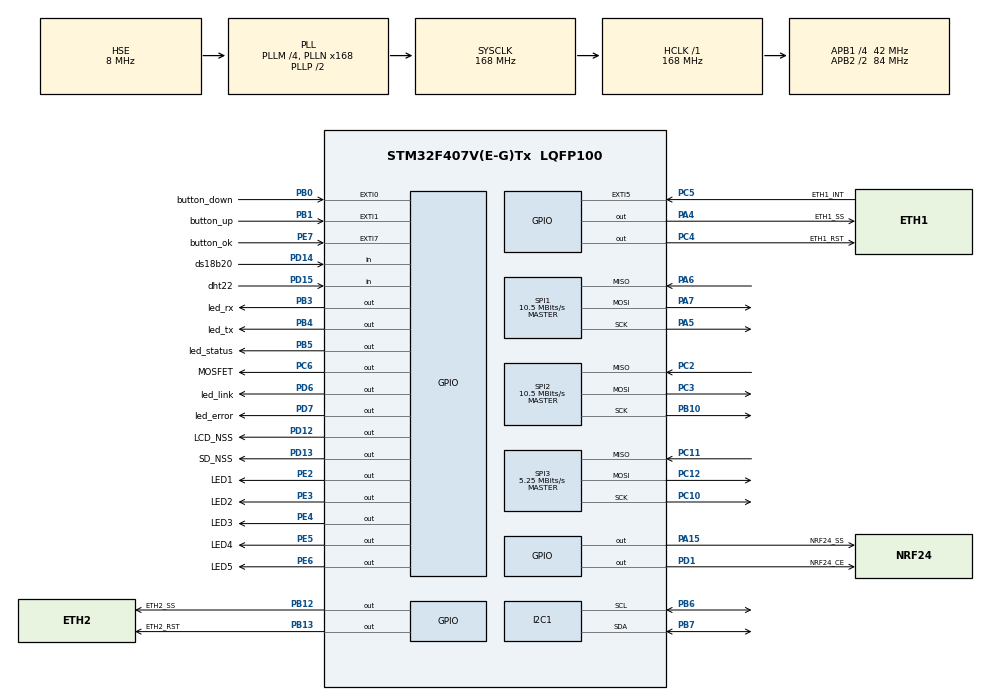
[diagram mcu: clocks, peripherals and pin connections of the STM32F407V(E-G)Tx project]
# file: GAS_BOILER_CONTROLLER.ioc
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I2C1.I2C_Mode=I2C_Fast
Mcu.Family=STM32F4
Mcu.Name=STM32F407V(E-G)Tx
Mcu.Package=LQFP100
NVIC.EXTI0_IRQn=true\:0\:0\:false\:false\:true\:true\:true\:true
NVIC.EXTI1_IRQn=true\:0\:0\:false\:false\:true\:true\:true\:true
NVIC.EXTI9_5_IRQn=true\:0\:0\:false\:false\:true\:true\:true\:true
NVIC.PriorityGroup=NVIC_PRIORITYGROUP_4
NVIC.TIM2_IRQn=true\:0\:0\:false\:false\:true\:true\:true\:true
NVIC.TIM4_IRQn=true\:0\:0\:false\:false\:true\:true\:true\:true
NVIC.TIM5_IRQn=true\:0\:0\:false\:false\:true\:true\:true\:true
NVIC.TIM6_DAC_IRQn=true\:0\:0\:false\:false\:true\:true\:true\:true
NVIC.TIM8_BRK_TIM12_IRQn=true\:0\:0\:false\:false\:true\:true\:true\:true
NVIC.TIM8_UP_TIM13_IRQn=true\:0\:0\:false\:false\:true\:true\:true\:true
PA13.Mode=Serial_Wire
PA13.Signal=SYS_JTMS-SWDIO
PA14.Mode=Serial_Wire
PA14.Signal=SYS_JTCK-SWCLK
PA15.GPIO_Label=NRF24_SS
PA15.Signal=GPIO_Output
PA4.GPIO_Label=ETH1_SS
PA4.PinState=GPIO_PIN_SET
PA4.Signal=GPIO_Output
PA5.GPIO_Speed=GPIO_SPEED_FREQ_HIGH
PA5.Mode=Full_Duplex_Master
PA5.Signal=SPI1_SCK
PA6.GPIO_Speed=GPIO_SPEED_FREQ_HIGH
PA6.Mode=Full_Duplex_Master
PA6.Signal=SPI1_MISO
PA7.GPIO_Speed=GPIO_SPEED_FREQ_HIGH
PA7.Mode=Full_Duplex_Master
PA7.Signal=SPI1_MOSI
PB0.GPIO_Label=button_down
PB0.GPIO_ModeDefaultEXTI=GPIO_MODE_IT_FALLING
PB0.GPIO_PuPd=GPIO_PULLUP
PB0.Signal=GPXTI0
PB1.GPIO_Label=button_up
PB1.GPIO_ModeDefaultEXTI=GPIO_MODE_IT_FALLING
PB1.GPIO_PuPd=GPIO_PULLUP
PB1.Signal=GPXTI1
PB10.GPIO_Speed=GPIO_SPEED_FREQ_HIGH
PB10.Mode=Full_Duplex_Master
PB10.Signal=SPI2_SCK
PB12.GPIO_Label=ETH2_SS
PB12.PinState=GPIO_PIN_SET
PB12.Signal=GPIO_Output
PB13.GPIO_Label=ETH2_RST
PB13.PinState=GPIO_PIN_SET
PB13.Signal=GPIO_Output
PB3.GPIO_Label=led_rx
PB3.Signal=GPIO_Output
PB4.GPIO_Label=led_tx
PB4.Signal=GPIO_Output
PB5.GPIO_Label=led_status
PB5.Signal=GPIO_Output
PB6.GPIO_Pu=GPIO_NOPULL
PB6.GPIO_Speed=GPIO_SPEED_FREQ_HIGH
PB6.Mode=I2C
PB6.Signal=I2C1_SCL
PB7.GPIO_Pu=GPIO_NOPULL
PB7.GPIO_Speed=GPIO_SPEED_FREQ_HIGH
PB7.Mode=I2C
PB7.Signal=I2C1_SDA
PC10.GPIO_Speed=GPIO_SPEED_FREQ_HIGH
PC10.Mode=Full_Duplex_Master
PC10.Signal=SPI3_SCK
PC11.GPIO_Speed=GPIO_SPEED_FREQ_HIGH
PC11.Mode=Full_Duplex_Master
PC11.Signal=SPI3_MISO
PC12.GPIO_Speed=GPIO_SPEED_FREQ_HIGH
PC12.Mode=Full_Duplex_Master
PC12.Signal=SPI3_MOSI
PC2.GPIO_Speed=GPIO_SPEED_FREQ_HIGH
PC2.Mode=Full_Duplex_Master
PC2.Signal=SPI2_MISO
PC3.GPIO_Speed=GPIO_SPEED_FREQ_HIGH
PC3.Mode=Full_Duplex_Master
PC3.Signal=SPI2_MOSI
PC4.GPIO_Label=ETH1_RST
PC4.PinState=GPIO_PIN_SET
PC4.Signal=GPIO_Output
PC5.GPIO_Label=ETH1_INT
PC5.Signal=GPXTI5
PC6.GPIO_Label=MOSFET
PC6.Signal=GPIO_Output
PD1.GPIO_Label=NRF24_CE
PD1.Signal=GPIO_Output
PD12.GPIO_Label=LCD_NSS
PD12.GPIO_Speed=GPIO_SPEED_FREQ_HIGH
PD12.PinState=GPIO_PIN_SET
PD12.Signal=GPIO_Output
PD13.GPIO_Label=SD_NSS
PD13.Signal=GPIO_Output
PD14.GPIO_Label=ds18b20
PD14.Signal=GPIO_Input
PD15.GPIO_Label=dht22
PD15.Signal=GPIO_Input
PD6.GPIO_Label=led_link
PD6.Signal=GPIO_Output
PD7.GPIO_Label=led_error
PD7.Signal=GPIO_Output
PE2.GPIO_Label=LED1
PE2.Signal=GPIO_Output
PE3.GPIO_Label=LED2
PE3.Signal=GPIO_Output
PE4.GPIO_Label=LED3
PE4.Signal=GPIO_Output
PE5.GPIO_Label=LED4
PE5.Signal=GPIO_Output
PE6.GPIO_Label=LED5
PE6.Signal=GPIO_Output
PE7.GPIO_Label=button_ok
PE7.GPIO_ModeDefaultEXTI=GPIO_MODE_IT_FALLING
PE7.GPIO_PuPd=GPIO_PULLUP
PE7.Signal=GPXTI7
PH0-OSC_IN.Mode=HSE-External-Oscillator
PH0-OSC_IN.Signal=RCC_OSC_IN
PH1-OSC_OUT.Mode=HSE-External-Oscillator
PH1-OSC_OUT.Signal=RCC_OSC_OUT
ProjectManager.HeapSize=0x200
ProjectManager.StackSize=0x400
ProjectManager.TargetToolchain=MDK-ARM V5.32
RCC.48MHZClocksFreq_Value=84000000
RCC.AHBFreq_Value=168000000
RCC.APB1CLKDivider=RCC_HCLK_DIV4
RCC.APB1Freq_Value=42000000
RCC.APB1TimFreq_Value=84000000
RCC.APB2CLKDivider=RCC_HCLK_DIV2
RCC.APB2Freq_Value=84000000
RCC.APB2TimFreq_Value=168000000
RCC.CortexFreq_Value=168000000
RCC.HCLKFreq_Value=168000000
RCC.HSE_VALUE=8000000
RCC.HSI_VALUE=16000000
RCC.LSE_VALUE=32768
RCC.PLLM=4
RCC.PLLN=168
RCC.PLLSourceVirtual=RCC_PLLSOURCE_HSE
RCC.SYSCLKFreq_VALUE=168000000
RCC.SYSCLKSource=RCC_SYSCLKSOURCE_PLLCLK
RCC.VCOOutputFreq_Value=336000000
SPI1.BaudRatePrescaler=SPI_BAUDRATEPRESCALER_8
SPI1.CalculateBaudRate=10.5 MBits/s
SPI1.Direction=SPI_DIRECTION_2LINES
SPI1.Mode=SPI_MODE_MASTER
SPI1.VirtualType=VM_MASTER
SPI2.BaudRatePrescaler=SPI_BAUDRATEPRESCALER_4
SPI2.CalculateBaudRate=10.5 MBits/s
SPI2.Direction=SPI_DIRECTION_2LINES
SPI2.Mode=SPI_MODE_MASTER
SPI2.VirtualType=VM_MASTER
SPI3.BaudRatePrescaler=SPI_BAUDRATEPRESCALER_8
SPI3.CalculateBaudRate=5.25 MBits/s
SPI3.Direction=SPI_DIRECTION_2LINES
SPI3.Mode=SPI_MODE_MASTER
SPI3.VirtualType=VM_MASTER
TIM12.Period=49999
TIM12.Prescaler=8399
TIM13.Period=49999
TIM13.Prescaler=8399
TIM2.Period=49999
TIM2.Prescaler=8399
TIM2.TIM_MasterOutputTrigger=TIM_TRGO_UPDATE
TIM3.Prescaler=83
TIM4.Period=49999
TIM4.Prescaler=8399
TIM5.Period=9999
TIM5.Prescaler=8399
TIM6.Period=999
TIM6.Prescaler=8399
VP_TIM12_VS_ClockSourceINT.Mode=Internal
VP_TIM13_VS_ClockSourceINT.Mode=Enable_Timer
VP_TIM2_VS_ClockSourceINT.Mode=Internal
VP_TIM3_VS_ClockSourceINT.Mode=Internal
VP_TIM4_VS_ClockSourceINT.Mode=Internal
VP_TIM5_VS_ClockSourceINT.Mode=Internal
VP_TIM6_VS_ClockSourceINT.Mode=Enable_Timer
board=custom

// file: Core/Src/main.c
/* USER CODE BEGIN Header */
/**
  ******************************************************************************
  * @file           : main.c
  * @brief          : Main program body
  ******************************************************************************
  * @attention
  *
  * Copyright (c) 2024 STMicroelectronics.
  * All rights reserved.
  *
  * This software is licensed under terms that can be found in the LICENSE file
  * in the root directory of this software component.
  * If no LICENSE file comes with this software, it is provided AS-IS.
  *
  ******************************************************************************
  */
/* USER CODE END Header */
#include "main.h"

 I2C_HandleTypeDef hi2c1;

SPI_HandleTypeDef hspi1;
SPI_HandleTypeDef hspi2;
SPI_HandleTypeDef hspi3;

TIM_HandleTypeDef htim2;
TIM_HandleTypeDef htim3;
TIM_HandleTypeDef htim4;
TIM_HandleTypeDef htim5;
TIM_HandleTypeDef htim6;
TIM_HandleTypeDef htim12;
TIM_HandleTypeDef htim13;

void SystemClock_Config(void);
static void MX_GPIO_Init(void);
static void MX_SPI1_Init(void);
static void MX_SPI2_Init(void);
static void MX_I2C1_Init(void);
static void MX_SPI3_Init(void);
static void MX_TIM3_Init(void);
static void MX_TIM2_Init(void);
static void MX_TIM4_Init(void);
static void MX_TIM5_Init(void);
static void MX_TIM6_Init(void);
static void MX_TIM12_Init(void);
static void MX_TIM13_Init(void);

/* USER CODE BEGIN 0 */
extern w5500_data w5500_1; // Настройки первой микросхемы w5500
extern w5500_data* w5500_1_ptr;
extern w5500_data w5500_2; // Настройки второй микросхемы w5500
extern w5500_data* w5500_2_ptr;
extern ram_data_struct ram_data;	//Пространство памяти ОЗУ (куда зеркализованы в т.ч. и данные из ПЗУ)
extern ram_data_struct *ram_ptr;	// Указатель на данные ОЗУ
extern ds3231_time sys_time;	// Структура системного времени
uint8_t is_time_to_update_params = 1; // Флаг того, что пора обновлять параметры модуля
extern uint8_t is_time_to_update_rom;	// Флаг того, что пора обновлять ПЗУ
uint8_t is_time_to_update_lcd; // Флаг того, что пора обновлять дисплей
uint8_t hours_delta; // Локальный счетчик часов
uint8_t is_lcd_on = 1; // Флаг для мигания уставки на дисплее
extern uint8_t button_is_locked; // Флаг состояния кнопки "ОК"
/* USER CODE END 0 */

int main(void)
{

  /* MCU Configuration--------------------------------------------------------*/

  /* Reset of all peripherals, Initializes the Flash interface and the Systick. */
  HAL_Init();

  /* Configure the system clock */
  SystemClock_Config();

  /* USER CODE BEGIN SysInit */
	// Костыль, с которым не возникает проблем с инициализацией i2c
	HAL_Delay(2000);
  /* USER CODE END SysInit */

  /* Initialize all configured peripherals */
  MX_GPIO_Init();
  MX_SPI1_Init();
  MX_SPI2_Init();
  MX_I2C1_Init();
  MX_SPI3_Init();
  MX_TIM3_Init();
  MX_TIM2_Init();
  MX_TIM4_Init();
  MX_TIM5_Init();
  MX_TIM6_Init();
  MX_TIM12_Init();
  MX_TIM13_Init();
  /* USER CODE BEGIN 2 */

	// Запуск таймеров и прерываний
	HAL_TIM_Base_Start_IT(&htim2);
	HAL_TIM_Base_Start_IT(&htim4);
	HAL_TIM_Base_Start_IT(&htim5);
	HAL_TIM_Base_Start_IT(&htim6);
	HAL_TIM_Base_Start_IT(&htim12);
	HAL_TIM_Base_Start_IT(&htim13);
	HAL_TIM_Base_Start(&htim3);

	// Заполнение таблицы CRC32
	fill_crc32_table();

	// Инициализация дисплея
	max7219_init();

	// Инициализация пространства памяти ПЗУ (прошиваются ПЗУ 1 раз)
#ifdef EEPROM_DEFAULT_INIT
	eeproms_first_ini(&USED_I2C);
#endif

	// Инициализация микросхемы RTC (прошивается 1 раз)
#ifdef RTC_DEFAULT_INIT
	set_time(&USED_I2C, 00, 13, 21, 7, 23, 6, 24);
#endif

	get_time(&USED_I2C);
	memcpy(&ram_ptr->uniq.gas_boiler.sys_time, &sys_time, sizeof(sys_time));
	memcpy(&ram_ptr->uniq.gas_boiler.start_time, &sys_time, sizeof(sys_time));
	hours_delta = ram_ptr->uniq.gas_boiler.start_time.hour;

	// Зеркализация данных из ПЗУ в ОЗУ
	eeprom_read(&USED_I2C, 0, (uint8_t*)ram_ptr, sizeof(ram_data.common.mirrored_to_rom_regs));

	// Инициализация контроллера Ethernet1 настройками из ПЗУ
#ifdef ETHERNET_PORT1
	memcpy(w5500_1_ptr->ipaddr, &ram_data.common.mirrored_to_rom_regs.common.ip_addr_1, sizeof(ram_data.common.mirrored_to_rom_regs.common.ip_addr_1));
	memcpy(w5500_1_ptr->ipgate, &ram_data.common.mirrored_to_rom_regs.common.ip_gate, sizeof(ram_data.common.mirrored_to_rom_regs.common.ip_gate));
	memcpy(w5500_1_ptr->ipmask, &ram_data.common.mirrored_to_rom_regs.common.ip_mask, sizeof(ram_data.common.mirrored_to_rom_regs.common.ip_mask));
	memcpy(w5500_1_ptr->macaddr, &ram_data.common.mirrored_to_rom_regs.common.mac_addr_1, sizeof(ram_data.common.mirrored_to_rom_regs.common.mac_addr_1));
	w5500_1_ptr->spi_n = &hspi1;
	w5500_1_ptr->port_set[0].local_port = ram_data.common.mirrored_to_rom_regs.common.local_port[0];
	w5500_1_ptr->port_set[1].local_port = ram_data.common.mirrored_to_rom_regs.common.local_port[1];
	w5500_1_ptr->port_set[0].sock_num = 0;
	w5500_1_ptr->port_set[1].sock_num = 1;
	w5500_1_ptr->port_set[0].is_soc_active = 1;
	w5500_1_ptr->port_set[1].is_soc_active = 1;
	w5500_1_ptr->port_set[0].is_client = 0;
	w5500_1_ptr->port_set[1].is_client = 0;
	w5500_1_ptr->port_set[0].htim = &htim2;
	w5500_1_ptr->port_set[1].htim = &htim12;
	w5500_1_ptr->cs_eth_gpio_port = GPIOA;
	w5500_1_ptr->cs_eth_pin = GPIO_PIN_4;
	w5500_1_ptr->rst_eth_gpio_port = GPIOC;
	w5500_1_ptr->rst_eth_pin = GPIO_PIN_4;
	w5500_hardware_rst(w5500_1_ptr);
	w5500_ini(w5500_1_ptr)
#endif
	// Инициализация контроллера Ethernet2 настройками из ПЗУ
#ifdef ETHERNET_PORT2
	memcpy(w5500_2_ptr->ipaddr, &ram_data.common.mirrored_to_rom_regs.common.ip_addr_2, sizeof(ram_data.common.mirrored_to_rom_regs.common.ip_addr_2));
	memcpy(w5500_2_ptr->ipgate, &ram_data.common.mirrored_to_rom_regs.common.ip_gate, sizeof(ram_data.common.mirrored_to_rom_regs.common.ip_gate));
	memcpy(w5500_2_ptr->ipmask, &ram_data.common.mirrored_to_rom_regs.common.ip_mask, sizeof(ram_data.common.mirrored_to_rom_regs.common.ip_mask));
	memcpy(w5500_2_ptr->macaddr, &ram_data.common.mirrored_to_rom_regs.common.mac_addr_2, sizeof(ram_data.common.mirrored_to_rom_regs.common.mac_addr_2));
	w5500_2_ptr->spi_n = &hspi2;
	w5500_2_ptr->port_set[0].local_port = ram_data.common.mirrored_to_rom_regs.common.local_port[0];
	w5500_2_ptr->port_set[1].local_port = ram_data.common.mirrored_to_rom_regs.common.local_port[1];
	w5500_2_ptr->port_set[0].sock_num = 0;
	w5500_2_ptr->port_set[1].sock_num = 1;
	w5500_2_ptr->port_set[0].is_soc_active = 1;
	w5500_2_ptr->port_set[1].is_soc_active = 1;
	w5500_2_ptr->port_set[0].is_client = 0;
	w5500_2_ptr->port_set[1].is_client = 0;
	w5500_2_ptr->port_set[0].htim = &htim4;
	w5500_2_ptr->port_set[1].htim = &htim13;
	w5500_2_ptr->cs_eth_gpio_port = GPIOB;
	w5500_2_ptr->cs_eth_pin = GPIO_PIN_12;
	w5500_2_ptr->rst_eth_gpio_port = GPIOB;
	w5500_2_ptr->rst_eth_pin = GPIO_PIN_13;
	w5500_hardware_rst(w5500_2_ptr);
	w5500_ini(w5500_2_ptr);
#endif

	// Инициализация датчиков
	dht22_init(GPIOD, GPIO_PIN_15);
	ds18b20_init(GPIOD, GPIO_PIN_14, SKIP_ROM);
  /* USER CODE END 2 */

  /* Infinite loop */
  while (1)
  {

    /* USER CODE BEGIN 3 */
		//если пришло время обновить параметры модуля
		if (is_time_to_update_params)
		{
			//обновление времени
			get_time(&USED_I2C);
			memcpy(&ram_ptr->uniq.gas_boiler.sys_time, &sys_time, sizeof(sys_time));
			if (((ram_ptr->uniq.gas_boiler.sys_time.hour - hours_delta) > 0 )||((hours_delta - ram_ptr->uniq.gas_boiler.sys_time.hour) == 23))
			{
				hours_delta = ram_ptr->uniq.gas_boiler.sys_time.hour;
				ram_ptr->common.work_time++;
			}
			//обновление показаний датчиков
			if (dht22_get_hum(GPIOD, GPIO_PIN_15, (float*)&ram_ptr->uniq.gas_boiler.humidity) != DHT22_ERROR)
				ram_ptr->uniq.gas_boiler.humidity += ram_ptr->common.mirrored_to_rom_regs.common.hum_correction;
#ifdef DHT22_DEFAULT_SENS
			if (dht22_get_temp(GPIOD, GPIO_PIN_15, (float*)&ram_ptr->uniq.gas_boiler.temperature) != DHT22_ERROR)
				ram_ptr->uniq.gas_boiler.gasboiler_temp += ram_ptr->common.mirrored_to_rom_regs.common.temp_correction;
#else
			if (ds18b20_get_temp(GPIOD, GPIO_PIN_14, (float*)&ram_ptr->uniq.gas_boiler.gasboiler_temp) != DS18B20_ERROR)
				ram_ptr->uniq.gas_boiler.gasboiler_temp += ram_ptr->common.mirrored_to_rom_regs.common.temp_correction;
#endif
			//алгоритм термостата
			thermostat_task();
			is_time_to_update_params = 0;
		}
		if (is_time_to_update_lcd)
		{
			//обновление показаний на дисплее
			if (button_is_locked)
			{
				print_temp_max7219(ram_ptr->uniq.gas_boiler.current_temp*10,
					ram_ptr->common.mirrored_to_rom_regs.unig.gas_boiler.temp_setpoint*10, 1);
			}
			else
			{
				print_temp_max7219(ram_ptr->uniq.gas_boiler.current_temp*10,
				ram_ptr->common.mirrored_to_rom_regs.unig.gas_boiler.temp_setpoint*10, is_lcd_on);
			}
			is_time_to_update_lcd = 0;
		}
		//если пришло время обновить ПЗУ
		if (is_time_to_update_rom)
		{
			//обновление данных в ПЗУ
			eeprom_write(&USED_I2C, 0, (uint8_t*)&ram_data.common.mirrored_to_rom_regs, sizeof(eeprom_data));
			is_time_to_update_rom = 0;
		}

		// серверная часть (взаимодействие с raspberry)
		check_sock_connection(w5500_2_ptr, &w5500_2_ptr->port_set[0]);
		reply_iteration(w5500_2_ptr, w5500_2_ptr->port_set[0].sock_num);

		// серверная часть (взаимодействие с control panel)
		check_sock_connection(w5500_2_ptr, &w5500_2_ptr->port_set[1]);
		reply_iteration(w5500_2_ptr, w5500_2_ptr->port_set[1].sock_num);

  }
  /* USER CODE END 3 */
}

void SystemClock_Config(void)
{
  RCC_OscInitTypeDef RCC_OscInitStruct = {0};
  RCC_ClkInitTypeDef RCC_ClkInitStruct = {0};

  /** Configure the main internal regulator output voltage
  */
  __HAL_RCC_PWR_CLK_ENABLE();
  __HAL_PWR_VOLTAGESCALING_CONFIG(PWR_REGULATOR_VOLTAGE_SCALE1);

  /** Initializes the RCC Oscillators according to the specified parameters
  * in the RCC_OscInitTypeDef structure.
  */
  RCC_OscInitStruct.OscillatorType = RCC_OSCILLATORTYPE_HSE;
  RCC_OscInitStruct.HSEState = RCC_HSE_ON;
  RCC_OscInitStruct.PLL.PLLState = RCC_PLL_ON;
  RCC_OscInitStruct.PLL.PLLSource = RCC_PLLSOURCE_HSE;
  RCC_OscInitStruct.PLL.PLLM = 4;
  RCC_OscInitStruct.PLL.PLLN = 168;
  RCC_OscInitStruct.PLL.PLLP = RCC_PLLP_DIV2;
  RCC_OscInitStruct.PLL.PLLQ = 4;
  if (HAL_RCC_OscConfig(&RCC_OscInitStruct) != HAL_OK)
  {
    Error_Handler();
  }

  /** Initializes the CPU, AHB and APB buses clocks
  */
  RCC_ClkInitStruct.ClockType = RCC_CLOCKTYPE_HCLK|RCC_CLOCKTYPE_SYSCLK
                              |RCC_CLOCKTYPE_PCLK1|RCC_CLOCKTYPE_PCLK2;
  RCC_ClkInitStruct.SYSCLKSource = RCC_SYSCLKSOURCE_PLLCLK;
  RCC_ClkInitStruct.AHBCLKDivider = RCC_SYSCLK_DIV1;
  RCC_ClkInitStruct.APB1CLKDivider = RCC_HCLK_DIV4;
  RCC_ClkInitStruct.APB2CLKDivider = RCC_HCLK_DIV2;

  if (HAL_RCC_ClockConfig(&RCC_ClkInitStruct, FLASH_LATENCY_5) != HAL_OK)
  {
    Error_Handler();
  }
}

static void MX_I2C1_Init(void)
{

  hi2c1.Instance = I2C1;
  hi2c1.Init.ClockSpeed = 400000;
  hi2c1.Init.DutyCycle = I2C_DUTYCYCLE_2;
  hi2c1.Init.OwnAddress1 = 0;
  hi2c1.Init.AddressingMode = I2C_ADDRESSINGMODE_7BIT;
  hi2c1.Init.DualAddressMode = I2C_DUALADDRESS_DISABLE;
  hi2c1.Init.OwnAddress2 = 0;
  hi2c1.Init.GeneralCallMode = I2C_GENERALCALL_DISABLE;
  hi2c1.Init.NoStretchMode = I2C_NOSTRETCH_DISABLE;
  if (HAL_I2C_Init(&hi2c1) != HAL_OK)
  {
    Error_Handler();
  }

}

static void MX_SPI1_Init(void)
{

  /* SPI1 parameter configuration*/
  hspi1.Instance = SPI1;
  hspi1.Init.Mode = SPI_MODE_MASTER;
  hspi1.Init.Direction = SPI_DIRECTION_2LINES;
  hspi1.Init.DataSize = SPI_DATASIZE_8BIT;
  hspi1.Init.CLKPolarity = SPI_POLARITY_LOW;
  hspi1.Init.CLKPhase = SPI_PHASE_1EDGE;
  hspi1.Init.NSS = SPI_NSS_SOFT;
  hspi1.Init.BaudRatePrescaler = SPI_BAUDRATEPRESCALER_8;
  hspi1.Init.FirstBit = SPI_FIRSTBIT_MSB;
  hspi1.Init.TIMode = SPI_TIMODE_DISABLE;
  hspi1.Init.CRCCalculation = SPI_CRCCALCULATION_DISABLE;
  hspi1.Init.CRCPolynomial = 10;
  if (HAL_SPI_Init(&hspi1) != HAL_OK)
  {
    Error_Handler();
  }

}

static void MX_SPI2_Init(void)
{

  /* SPI2 parameter configuration*/
  hspi2.Instance = SPI2;
  hspi2.Init.Mode = SPI_MODE_MASTER;
  hspi2.Init.Direction = SPI_DIRECTION_2LINES;
  hspi2.Init.DataSize = SPI_DATASIZE_8BIT;
  hspi2.Init.CLKPolarity = SPI_POLARITY_LOW;
  hspi2.Init.CLKPhase = SPI_PHASE_1EDGE;
  hspi2.Init.NSS = SPI_NSS_SOFT;
  hspi2.Init.BaudRatePrescaler = SPI_BAUDRATEPRESCALER_4;
  hspi2.Init.FirstBit = SPI_FIRSTBIT_MSB;
  hspi2.Init.TIMode = SPI_TIMODE_DISABLE;
  hspi2.Init.CRCCalculation = SPI_CRCCALCULATION_DISABLE;
  hspi2.Init.CRCPolynomial = 10;
  if (HAL_SPI_Init(&hspi2) != HAL_OK)
  {
    Error_Handler();
  }

}

static void MX_SPI3_Init(void)
{

  /* SPI3 parameter configuration*/
  hspi3.Instance = SPI3;
  hspi3.Init.Mode = SPI_MODE_MASTER;
  hspi3.Init.Direction = SPI_DIRECTION_2LINES;
  hspi3.Init.DataSize = SPI_DATASIZE_8BIT;
  hspi3.Init.CLKPolarity = SPI_POLARITY_LOW;
  hspi3.Init.CLKPhase = SPI_PHASE_1EDGE;
  hspi3.Init.NSS = SPI_NSS_SOFT;
  hspi3.Init.BaudRatePrescaler = SPI_BAUDRATEPRESCALER_8;
  hspi3.Init.FirstBit = SPI_FIRSTBIT_MSB;
  hspi3.Init.TIMode = SPI_TIMODE_DISABLE;
  hspi3.Init.CRCCalculation = SPI_CRCCALCULATION_DISABLE;
  hspi3.Init.CRCPolynomial = 10;
  if (HAL_SPI_Init(&hspi3) != HAL_OK)
  {
    Error_Handler();
  }

}

static void MX_TIM2_Init(void)
{

  TIM_ClockConfigTypeDef sClockSourceConfig = {0};
  TIM_MasterConfigTypeDef sMasterConfig = {0};

  htim2.Instance = TIM2;
  htim2.Init.Prescaler = 8399;
  htim2.Init.CounterMode = TIM_COUNTERMODE_UP;
  htim2.Init.Period = 49999;
  htim2.Init.ClockDivision = TIM_CLOCKDIVISION_DIV1;
  htim2.Init.AutoReloadPreload = TIM_AUTORELOAD_PRELOAD_DISABLE;
  if (HAL_TIM_Base_Init(&htim2) != HAL_OK)
  {
    Error_Handler();
  }
  sClockSourceConfig.ClockSource = TIM_CLOCKSOURCE_INTERNAL;
  if (HAL_TIM_ConfigClockSource(&htim2, &sClockSourceConfig) != HAL_OK)
  {
    Error_Handler();
  }
  sMasterConfig.MasterOutputTrigger = TIM_TRGO_UPDATE;
  sMasterConfig.MasterSlaveMode = TIM_MASTERSLAVEMODE_DISABLE;
  if (HAL_TIMEx_MasterConfigSynchronization(&htim2, &sMasterConfig) != HAL_OK)
  {
    Error_Handler();
  }

}

static void MX_TIM3_Init(void)
{

  TIM_ClockConfigTypeDef sClockSourceConfig = {0};
  TIM_MasterConfigTypeDef sMasterConfig = {0};

  htim3.Instance = TIM3;
  htim3.Init.Prescaler = 83;
  htim3.Init.CounterMode = TIM_COUNTERMODE_UP;
  htim3.Init.Period = 65535;
  htim3.Init.ClockDivision = TIM_CLOCKDIVISION_DIV1;
  htim3.Init.AutoReloadPreload = TIM_AUTORELOAD_PRELOAD_DISABLE;
  if (HAL_TIM_Base_Init(&htim3) != HAL_OK)
  {
    Error_Handler();
  }
  sClockSourceConfig.ClockSource = TIM_CLOCKSOURCE_INTERNAL;
  if (HAL_TIM_ConfigClockSource(&htim3, &sClockSourceConfig) != HAL_OK)
  {
    Error_Handler();
  }
  sMasterConfig.MasterOutputTrigger = TIM_TRGO_RESET;
  sMasterConfig.MasterSlaveMode = TIM_MASTERSLAVEMODE_DISABLE;
  if (HAL_TIMEx_MasterConfigSynchronization(&htim3, &sMasterConfig) != HAL_OK)
  {
    Error_Handler();
  }

}

static void MX_TIM4_Init(void)
{

  TIM_ClockConfigTypeDef sClockSourceConfig = {0};
  TIM_MasterConfigTypeDef sMasterConfig = {0};

  htim4.Instance = TIM4;
  htim4.Init.Prescaler = 8399;
  htim4.Init.CounterMode = TIM_COUNTERMODE_UP;
  htim4.Init.Period = 49999;
  htim4.Init.ClockDivision = TIM_CLOCKDIVISION_DIV1;
  htim4.Init.AutoReloadPreload = TIM_AUTORELOAD_PRELOAD_DISABLE;
  if (HAL_TIM_Base_Init(&htim4) != HAL_OK)
  {
    Error_Handler();
  }
  sClockSourceConfig.ClockSource = TIM_CLOCKSOURCE_INTERNAL;
  if (HAL_TIM_ConfigClockSource(&htim4, &sClockSourceConfig) != HAL_OK)
  {
    Error_Handler();
  }
  sMasterConfig.MasterOutputTrigger = TIM_TRGO_RESET;
  sMasterConfig.MasterSlaveMode = TIM_MASTERSLAVEMODE_DISABLE;
  if (HAL_TIMEx_MasterConfigSynchronization(&htim4, &sMasterConfig) != HAL_OK)
  {
    Error_Handler();
  }

}

static void MX_TIM5_Init(void)
{

  TIM_ClockConfigTypeDef sClockSourceConfig = {0};
  TIM_MasterConfigTypeDef sMasterConfig = {0};

  htim5.Instance = TIM5;
  htim5.Init.Prescaler = 8399;
  htim5.Init.CounterMode = TIM_COUNTERMODE_UP;
  htim5.Init.Period = 9999;
  htim5.Init.ClockDivision = TIM_CLOCKDIVISION_DIV1;
  htim5.Init.AutoReloadPreload = TIM_AUTORELOAD_PRELOAD_DISABLE;
  if (HAL_TIM_Base_Init(&htim5) != HAL_OK)
  {
    Error_Handler();
  }
  sClockSourceConfig.ClockSource = TIM_CLOCKSOURCE_INTERNAL;
  if (HAL_TIM_ConfigClockSource(&htim5, &sClockSourceConfig) != HAL_OK)
  {
    Error_Handler();
  }
  sMasterConfig.MasterOutputTrigger = TIM_TRGO_RESET;
  sMasterConfig.MasterSlaveMode = TIM_MASTERSLAVEMODE_DISABLE;
  if (HAL_TIMEx_MasterConfigSynchronization(&htim5, &sMasterConfig) != HAL_OK)
  {
    Error_Handler();
  }

}

static void MX_TIM6_Init(void)
{

  TIM_MasterConfigTypeDef sMasterConfig = {0};

  htim6.Instance = TIM6;
  htim6.Init.Prescaler = 8399;
  htim6.Init.CounterMode = TIM_COUNTERMODE_UP;
  htim6.Init.Period = 999;
  htim6.Init.AutoReloadPreload = TIM_AUTORELOAD_PRELOAD_DISABLE;
  if (HAL_TIM_Base_Init(&htim6) != HAL_OK)
  {
    Error_Handler();
  }
  sMasterConfig.MasterOutputTrigger = TIM_TRGO_RESET;
  sMasterConfig.MasterSlaveMode = TIM_MASTERSLAVEMODE_DISABLE;
  if (HAL_TIMEx_MasterConfigSynchronization(&htim6, &sMasterConfig) != HAL_OK)
  {
    Error_Handler();
  }

}

static void MX_TIM12_Init(void)
{

  TIM_ClockConfigTypeDef sClockSourceConfig = {0};

  htim12.Instance = TIM12;
  htim12.Init.Prescaler = 8399;
  htim12.Init.CounterMode = TIM_COUNTERMODE_UP;
  htim12.Init.Period = 49999;
  htim12.Init.ClockDivision = TIM_CLOCKDIVISION_DIV1;
  htim12.Init.AutoReloadPreload = TIM_AUTORELOAD_PRELOAD_DISABLE;
  if (HAL_TIM_Base_Init(&htim12) != HAL_OK)
  {
    Error_Handler();
  }
  sClockSourceConfig.ClockSource = TIM_CLOCKSOURCE_INTERNAL;
  if (HAL_TIM_ConfigClockSource(&htim12, &sClockSourceConfig) != HAL_OK)
  {
    Error_Handler();
  }

}

static void MX_TIM13_Init(void)
{

  htim13.Instance = TIM13;
  htim13.Init.Prescaler = 8399;
  htim13.Init.CounterMode = TIM_COUNTERMODE_UP;
  htim13.Init.Period = 49999;
  htim13.Init.ClockDivision = TIM_CLOCKDIVISION_DIV1;
  htim13.Init.AutoReloadPreload = TIM_AUTORELOAD_PRELOAD_DISABLE;
  if (HAL_TIM_Base_Init(&htim13) != HAL_OK)
  {
    Error_Handler();
  }

}

static void MX_GPIO_Init(void)
{
  GPIO_InitTypeDef GPIO_InitStruct = {0};

  /* GPIO Ports Clock Enable */
  __HAL_RCC_GPIOE_CLK_ENABLE();
  __HAL_RCC_GPIOH_CLK_ENABLE();
  __HAL_RCC_GPIOC_CLK_ENABLE();
  __HAL_RCC_GPIOA_CLK_ENABLE();
  __HAL_RCC_GPIOB_CLK_ENABLE();
  __HAL_RCC_GPIOD_CLK_ENABLE();

  /*Configure GPIO pin Output Level */
  HAL_GPIO_WritePin(GPIOE, LED1_Pin|LED2_Pin|LED3_Pin|LED4_Pin
                          |LED5_Pin, GPIO_PIN_RESET);

  /*Configure GPIO pin Output Level */
  HAL_GPIO_WritePin(ETH1_SS_GPIO_Port, ETH1_SS_Pin, GPIO_PIN_SET);

  /*Configure GPIO pin Output Level */
  HAL_GPIO_WritePin(ETH1_RST_GPIO_Port, ETH1_RST_Pin, GPIO_PIN_SET);

  /*Configure GPIO pin Output Level */
  HAL_GPIO_WritePin(GPIOB, ETH2_SS_Pin|ETH2_RST_Pin, GPIO_PIN_SET);

  /*Configure GPIO pin Output Level */
  HAL_GPIO_WritePin(LCD_NSS_GPIO_Port, LCD_NSS_Pin, GPIO_PIN_SET);

  /*Configure GPIO pin Output Level */
  HAL_GPIO_WritePin(GPIOD, SD_NSS_Pin|NRF24_CE_Pin|led_link_Pin|led_error_Pin, GPIO_PIN_RESET);

  /*Configure GPIO pin Output Level */
  HAL_GPIO_WritePin(MOSFET_GPIO_Port, MOSFET_Pin, GPIO_PIN_RESET);

  /*Configure GPIO pin Output Level */
  HAL_GPIO_WritePin(NRF24_SS_GPIO_Port, NRF24_SS_Pin, GPIO_PIN_RESET);

  /*Configure GPIO pin Output Level */
  HAL_GPIO_WritePin(GPIOB, led_rx_Pin|led_tx_Pin|led_status_Pin, GPIO_PIN_RESET);

  /*Configure GPIO pins : LED1_Pin LED2_Pin LED3_Pin LED4_Pin
                           LED5_Pin */
  GPIO_InitStruct.Pin = LED1_Pin|LED2_Pin|LED3_Pin|LED4_Pin
                          |LED5_Pin;
  GPIO_InitStruct.Mode = GPIO_MODE_OUTPUT_PP;
  GPIO_InitStruct.Pull = GPIO_NOPULL;
  GPIO_InitStruct.Speed = GPIO_SPEED_FREQ_LOW;
  HAL_GPIO_Init(GPIOE, &GPIO_InitStruct);

  /*Configure GPIO pins : ETH1_SS_Pin NRF24_SS_Pin */
  GPIO_InitStruct.Pin = ETH1_SS_Pin|NRF24_SS_Pin;
  GPIO_InitStruct.Mode = GPIO_MODE_OUTPUT_PP;
  GPIO_InitStruct.Pull = GPIO_NOPULL;
  GPIO_InitStruct.Speed = GPIO_SPEED_FREQ_LOW;
  HAL_GPIO_Init(GPIOA, &GPIO_InitStruct);

  /*Configure GPIO pins : ETH1_RST_Pin MOSFET_Pin */
  GPIO_InitStruct.Pin = ETH1_RST_Pin|MOSFET_Pin;
  GPIO_InitStruct.Mode = GPIO_MODE_OUTPUT_PP;
  GPIO_InitStruct.Pull = GPIO_NOPULL;
  GPIO_InitStruct.Speed = GPIO_SPEED_FREQ_LOW;
  HAL_GPIO_Init(GPIOC, &GPIO_InitStruct);

  /*Configure GPIO pin : ETH1_INT_Pin */
  GPIO_InitStruct.Pin = ETH1_INT_Pin;
  GPIO_InitStruct.Mode = GPIO_MODE_IT_RISING;
  GPIO_InitStruct.Pull = GPIO_NOPULL;
  HAL_GPIO_Init(ETH1_INT_GPIO_Port, &GPIO_InitStruct);

  /*Configure GPIO pins : button_down_Pin button_up_Pin */
  GPIO_InitStruct.Pin = button_down_Pin|button_up_Pin;
  GPIO_InitStruct.Mode = GPIO_MODE_IT_FALLING;
  GPIO_InitStruct.Pull = GPIO_PULLUP;
  HAL_GPIO_Init(GPIOB, &GPIO_InitStruct);

  /*Configure GPIO pin : button_ok_Pin */
  GPIO_InitStruct.Pin = button_ok_Pin;
  GPIO_InitStruct.Mode = GPIO_MODE_IT_FALLING;
  GPIO_InitStruct.Pull = GPIO_PULLUP;
  HAL_GPIO_Init(button_ok_GPIO_Port, &GPIO_InitStruct);

  /*Configure GPIO pins : ETH2_SS_Pin ETH2_RST_Pin led_rx_Pin led_tx_Pin
                           led_status_Pin */
  GPIO_InitStruct.Pin = ETH2_SS_Pin|ETH2_RST_Pin|led_rx_Pin|led_tx_Pin
                          |led_status_Pin;
  GPIO_InitStruct.Mode = GPIO_MODE_OUTPUT_PP;
  GPIO_InitStruct.Pull = GPIO_NOPULL;
  GPIO_InitStruct.Speed = GPIO_SPEED_FREQ_LOW;
  HAL_GPIO_Init(GPIOB, &GPIO_InitStruct);

  /*Configure GPIO pin : LCD_NSS_Pin */
  GPIO_InitStruct.Pin = LCD_NSS_Pin;
  GPIO_InitStruct.Mode = GPIO_MODE_OUTPUT_PP;
  GPIO_InitStruct.Pull = GPIO_NOPULL;
  GPIO_InitStruct.Speed = GPIO_SPEED_FREQ_HIGH;
  HAL_GPIO_Init(LCD_NSS_GPIO_Port, &GPIO_InitStruct);

  /*Configure GPIO pins : SD_NSS_Pin NRF24_CE_Pin led_link_Pin led_error_Pin */
  GPIO_InitStruct.Pin = SD_NSS_Pin|NRF24_CE_Pin|led_link_Pin|led_error_Pin;
  GPIO_InitStruct.Mode = GPIO_MODE_OUTPUT_PP;
  GPIO_InitStruct.Pull = GPIO_NOPULL;
  GPIO_InitStruct.Speed = GPIO_SPEED_FREQ_LOW;
  HAL_GPIO_Init(GPIOD, &GPIO_InitStruct);

  /*Configure GPIO pins : ds18b20_Pin dht22_Pin */
  GPIO_InitStruct.Pin = ds18b20_Pin|dht22_Pin;
  GPIO_InitStruct.Mode = GPIO_MODE_INPUT;
  GPIO_InitStruct.Pull = GPIO_NOPULL;
  HAL_GPIO_Init(GPIOD, &GPIO_InitStruct);

  /* EXTI interrupt init*/
  HAL_NVIC_SetPriority(EXTI0_IRQn, 0, 0);
  HAL_NVIC_EnableIRQ(EXTI0_IRQn);

  HAL_NVIC_SetPriority(EXTI1_IRQn, 0, 0);
  HAL_NVIC_EnableIRQ(EXTI1_IRQn);

  HAL_NVIC_SetPriority(EXTI9_5_IRQn, 0, 0);
  HAL_NVIC_EnableIRQ(EXTI9_5_IRQn);

}

/* USER CODE BEGIN 4 */
void HAL_TIM_PeriodElapsedCallback(TIM_HandleTypeDef *htim)
{
	static int htim5_cnt = 0;
	if (htim == &htim4)
	{
		w5500_2_ptr->port_set[0].is_soc_active = 0;
	}
	if (htim == &htim2)
	{
		w5500_1_ptr->port_set[0].is_soc_active = 0;
	}
	else if (htim == &htim13)
	{
		w5500_2_ptr->port_set[1].is_soc_active = 0;
	}
	else if (htim == &htim12)
	{
		w5500_1_ptr->port_set[1].is_soc_active = 0;
	}
	else if (htim == &htim5)
	{
		//Каждые 10сек обновление параметров модуля
		if ((htim5_cnt%10) == 0)
		{
			is_time_to_update_params = 1;
			htim5_cnt = 1;
		}
		else
		{
			htim5_cnt++;
		}
	}
	else if (htim == &htim6)
	{
		//Каждые 100 мс мигание уставки на дисплее
		if (is_lcd_on) is_lcd_on = 0;
		else is_lcd_on = 1;
		is_time_to_update_lcd = 1;
	}
}
/* USER CODE END 4 */

void Error_Handler(void)
{
  __disable_irq();
  while (1)
  {
  }
}
